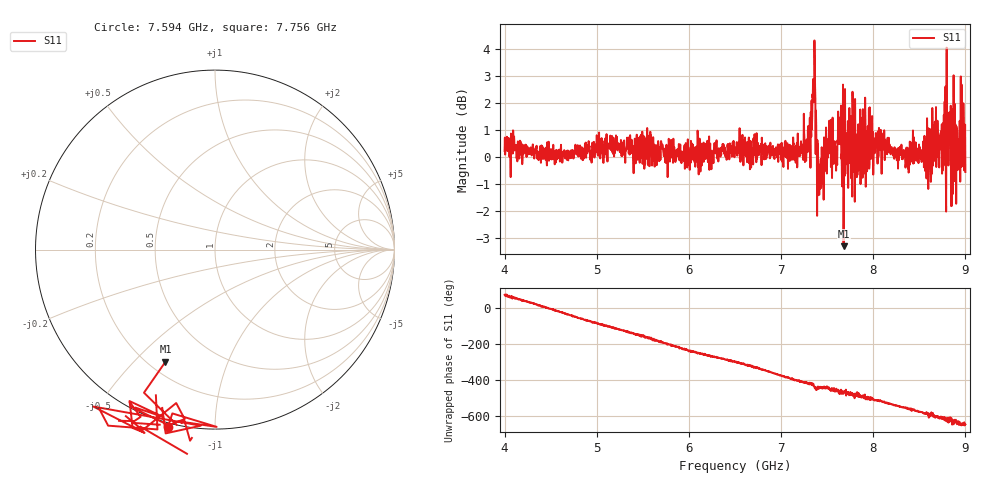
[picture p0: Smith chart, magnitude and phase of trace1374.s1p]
! Created with skrf 1.8.0 (http://scikit-rf.org).
# Hz S RI R 50.0
!freq ReS11 ImS11
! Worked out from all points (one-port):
!   1601 points, 4 GHz to 9 GHz, reference 50 ohm
!   lowest |S11| = -3.3 dB at 7.678 GHz (marker M1), VSWR 5.31, Z = 13.2 - j31 ohm
!   |S11| at or under -10 dB: nowhere
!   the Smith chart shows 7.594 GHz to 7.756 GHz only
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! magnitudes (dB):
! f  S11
! 4 GHz  0.2
! 4.625 GHz  -0.2
! 5.25 GHz  0.2
! 5.875 GHz  0.0
! 6.5 GHz  0.2
! 7.125 GHz  0.3
! 7.294 GHz  0.3
! 7.347 GHz  2.9
! 7.362 GHz  4.3
! 7.397 GHz  -1.4
! 7.412 GHz  -1.4
! 7.512 GHz  0.5
! 7.591 GHz  0.4
! 7.625 GHz  0.6
! 7.65 GHz  1.9
! 7.678 GHz  -3.3
! 7.75 GHz  0.6
! 7.962 GHz  1.8
! 8.375 GHz  -0.3
! 8.622 GHz  -0.4
! 8.656 GHz  1.2
! 8.759 GHz  0.1
! 8.766 GHz  1.6
! 8.8 GHz  0.7
! 8.875 GHz  0.1
! 8.919 GHz  -0.3
! 8.972 GHz  0.5
! 9 GHz  -0.6
